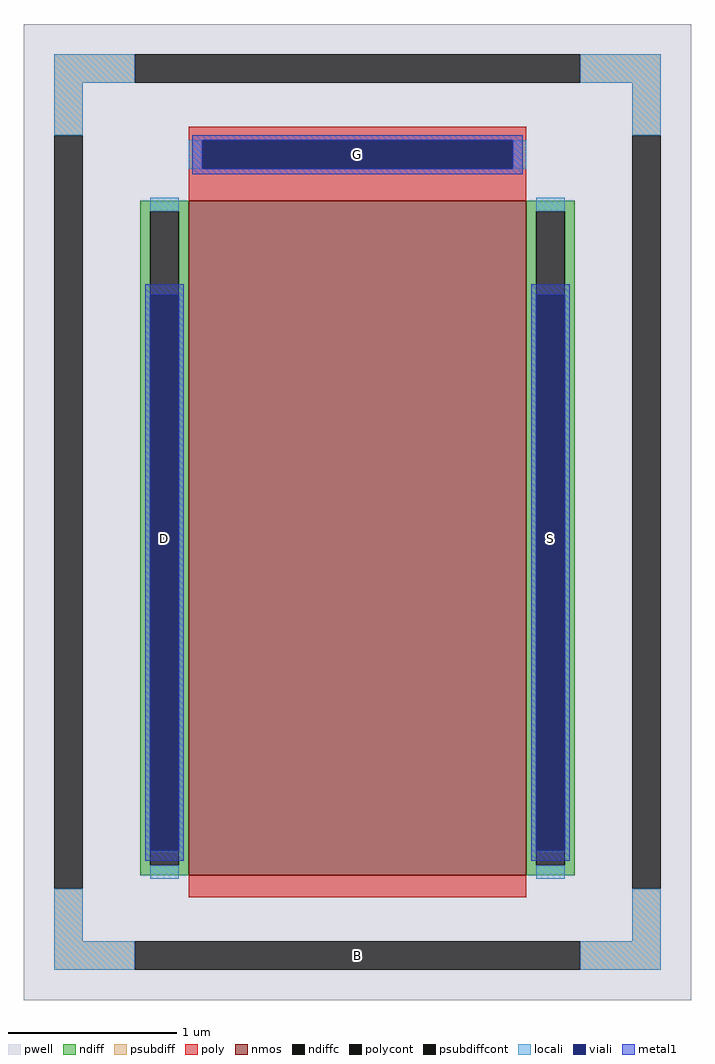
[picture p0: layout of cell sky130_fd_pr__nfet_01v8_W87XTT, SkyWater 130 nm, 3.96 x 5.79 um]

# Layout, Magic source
magic
tech sky130A
magscale 1 2
<< pwell >>
rect -396 -579 396 579
<< nmos >>
rect -200 -431 200 369
<< ndiff >>
rect -258 357 -200 369
rect -258 -419 -246 357
rect -212 -419 -200 357
rect -258 -431 -200 -419
rect 200 357 258 369
rect 200 -419 212 357
rect 246 -419 258 357
rect 200 -431 258 -419
<< ndiffc >>
rect -246 -419 -212 357
rect 212 -419 246 357
<< psubdiff >>
rect -360 509 -264 543
rect 264 509 360 543
rect -360 447 -326 509
rect 326 447 360 509
rect -360 -509 -326 -447
rect 326 -509 360 -447
rect -360 -543 -264 -509
rect 264 -543 360 -509
<< psubdiffcont >>
rect -264 509 264 543
rect -360 -447 -326 447
rect 326 -447 360 447
rect -264 -543 264 -509
<< poly >>
rect -200 441 200 457
rect -200 407 -184 441
rect 184 407 200 441
rect -200 369 200 407
rect -200 -457 200 -431
<< polycont >>
rect -184 407 184 441
<< locali >>
rect -360 509 -264 543
rect 264 509 360 543
rect -360 447 -326 509
rect 326 447 360 509
rect -200 407 -184 441
rect 184 407 200 441
rect -246 357 -212 373
rect -246 -435 -212 -419
rect 212 357 246 373
rect 212 -435 246 -419
rect -360 -509 -326 -447
rect 326 -509 360 -447
rect -360 -543 -264 -509
rect 264 -543 360 -509
<< viali >>
rect -184 407 184 441
rect -246 -402 -212 258
rect 212 -402 246 258
<< metal1 >>
rect -196 441 196 447
rect -196 407 -184 441
rect 184 407 196 441
rect -196 401 196 407
rect -252 258 -206 270
rect -252 -402 -246 258
rect -212 -402 -206 258
rect -252 -414 -206 -402
rect 206 258 252 270
rect 206 -402 212 258
rect 246 -402 252 258
rect 206 -414 252 -402
<< labels >>
rlabel psubdiffcont 0 -526 0 -526 0 B
port 1 nsew
rlabel ndiffc -229 -31 -229 -31 0 D
port 2 nsew
rlabel ndiffc 229 -31 229 -31 0 S
port 3 nsew
rlabel polycont 0 424 0 424 0 G
port 4 nsew
<< properties >>
string FIXED_BBOX -343 -526 343 526
string gencell sky130_fd_pr__nfet_01v8
string library sky130
string parameters w 4 l 2.0 m 1 nf 1 diffcov 100 polycov 100 guard 1 glc 1 grc 1 gtc 1 gbc 1 tbcov 100 rlcov 100 topc 1 botc 0 poverlap 0 doverlap 1 lmin 0.15 wmin 0.42 class mosfet compatible {sky130_fd_pr__nfet_01v8 sky130_fd_pr__nfet_01v8_lvt  sky130_fd_bs_flash__special_sonosfet_star  sky130_fd_pr__nfet_g5v0d10v5 sky130_fd_pr__nfet_05v0_nvt  sky130_fd_pr__nfet_03v3_nvt} full_metal 1 conn_gates 0 viasrc +85 viadrn +85 viagate 100 viagb 0 viagr 0 viagl 0 viagt 0 doports 1
<< end >>
